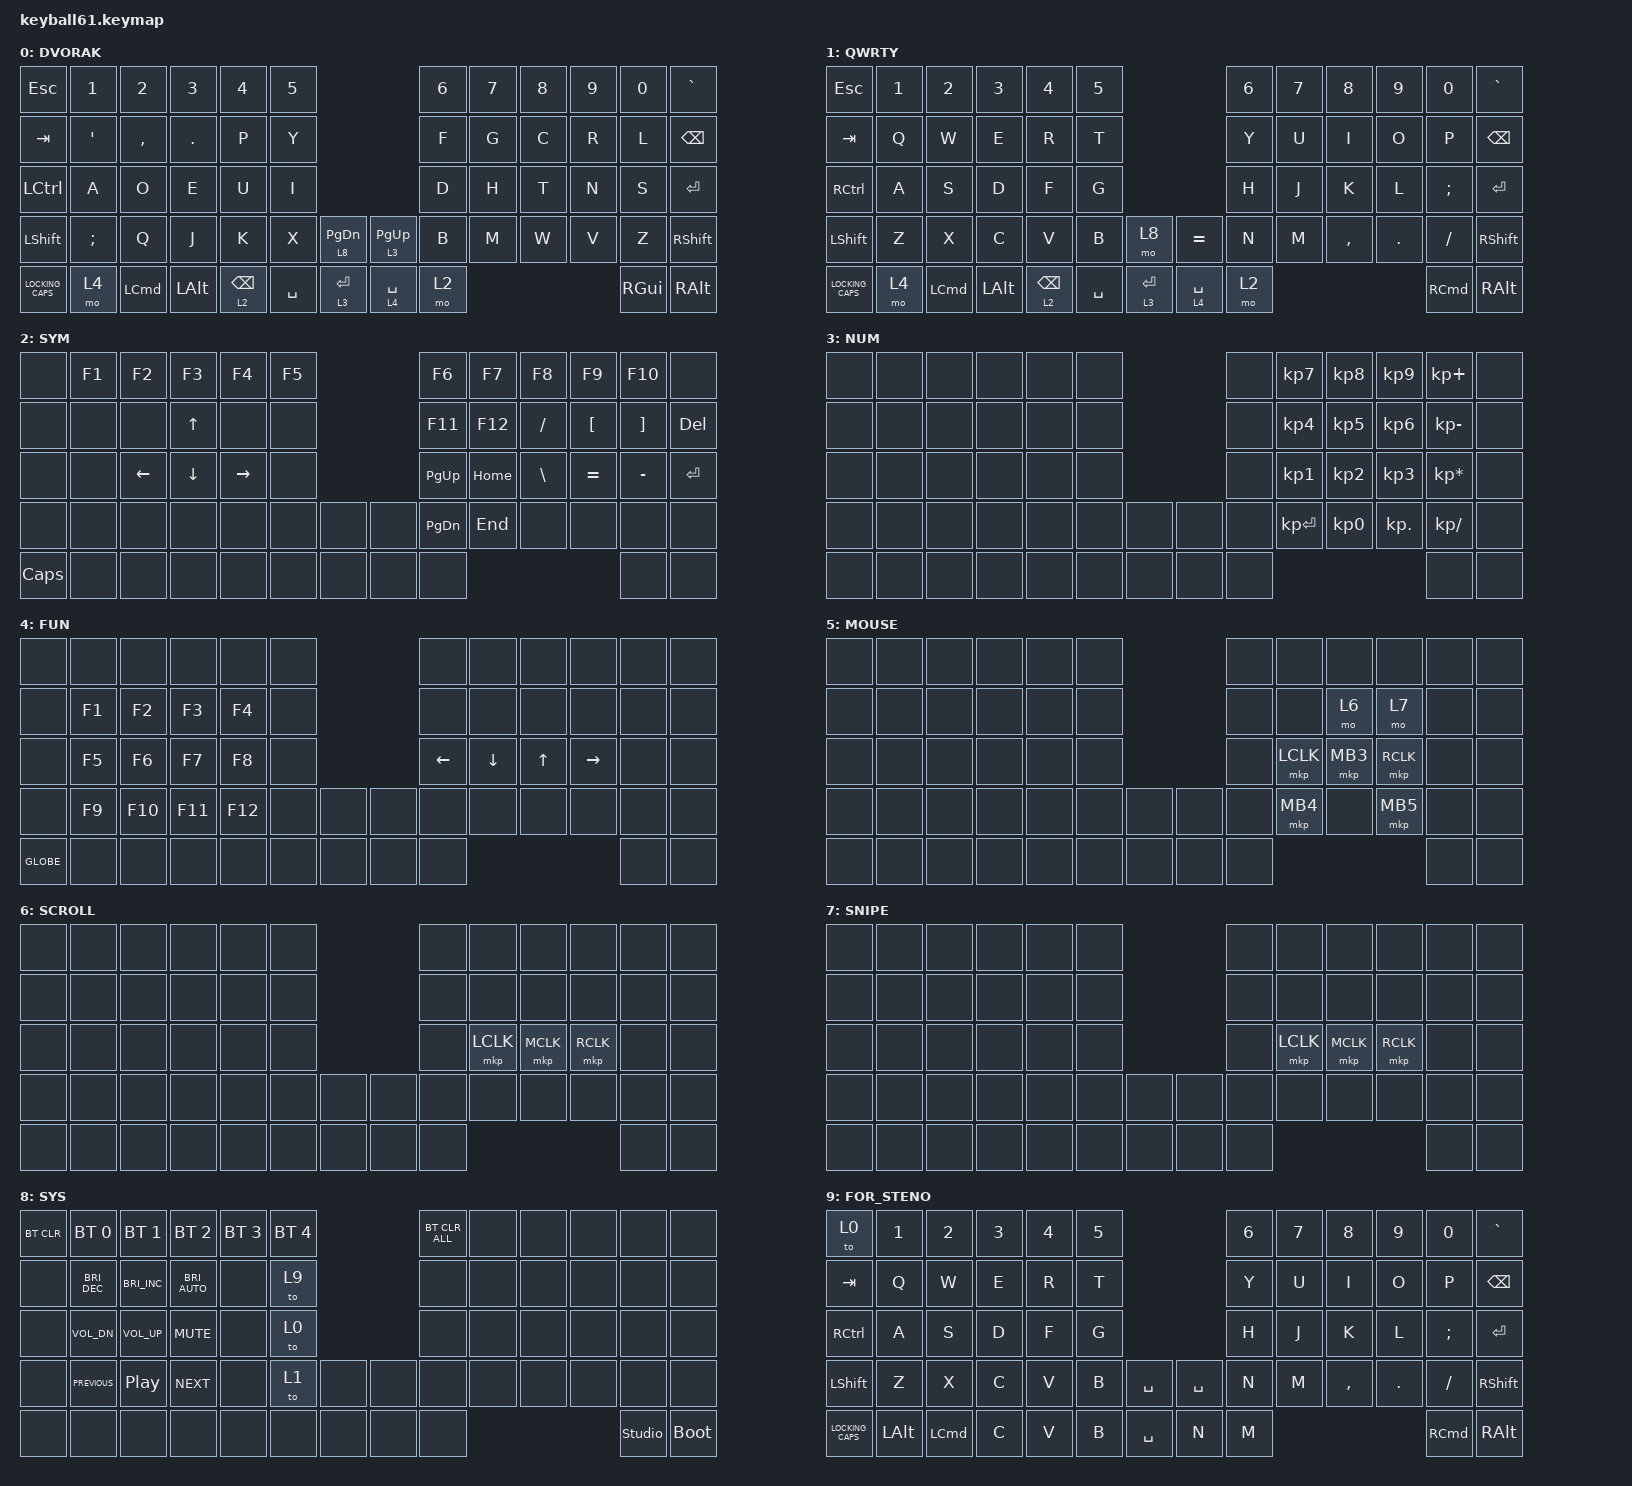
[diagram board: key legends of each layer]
#define DEFAULT 0
#define SYM     1
#define FUN     2
#define MOUSE   3
#define SCROLL  4
#define SNIPE   5

#include <behaviors/mouse_keys.dtsi>
#include <dt-bindings/zmk/mouse.h>
#include <behaviors.dtsi>
#include <dt-bindings/zmk/bt.h>
#include <dt-bindings/zmk/keys.h>
#include <dt-bindings/zmk/pointing.h>

&lt {
    tapping-term-ms = <240>;
    flavor = "hold-preferred";
    quick-tap-ms = <100>;
};

&mt {
    tapping-term-ms = <200>;
    flavor = "tap-preferred";
    quick-tap-ms = <150>;
};

/ {
    combos {
        compatible = "zmk,combos";

        combo_minus {
            bindings = <&kp MINUS>;
            key-positions = <58 34>;
            layers = <0>;
        };

        combo_left_bracket {
            bindings = <&kp LEFT_BRACKET>;
            key-positions = <58 21>;
            layers = <0>;
        };

        combo_right_bracket {
            bindings = <&kp RIGHT_BRACKET>;
            key-positions = <58 21>;
            layers = <0>;
        };

        combo_equal {
            bindings = <&kp EQUAL>;
            key-positions = <58 33>;
            layers = <0>;
        };

        combo_slash {
            bindings = <&kp SLASH>;
            key-positions = <58 20>;
            layers = <0>;
        };

        combo_backslash {
            bindings = <&kp BACKSLASH>;
            key-positions = <58 32>;
            layers = <0>;
        };

        combo_F1 {
            bindings = <&kp F1>;
            key-positions = <56 13>;
            layers = <0>;
        };

        combo_F2 {
            bindings = <&kp F2>;
            key-positions = <56 14>;
            layers = <0>;
        };

        combo_F3 {
            bindings = <&kp F3>;
            key-positions = <56 15>;
            layers = <0>;
        };

        combo_F4 {
            bindings = <&kp F4>;
            key-positions = <56 16>;
            layers = <0>;
        };

        combo_F5 {
            bindings = <&kp F5>;
            key-positions = <56 25>;
            layers = <0>;
        };

        combo_F6 {
            bindings = <&kp F6>;
            key-positions = <56 26>;
            layers = <0>;
        };

        combo_F7 {
            bindings = <&kp F7>;
            key-positions = <56 27>;
            layers = <0>;
        };

        combo_F8 {
            bindings = <&kp F8>;
            key-positions = <56 28>;
            layers = <0>;
        };

        combo_F9 {
            bindings = <&kp F9>;
            key-positions = <56 37>;
            layers = <0>;
        };

        combo_F10 {
            bindings = <&kp F10>;
            key-positions = <56 38>;
            layers = <0>;
        };

        combo_F11 {
            bindings = <&kp F11>;
            key-positions = <56 39>;
            layers = <0>;
        };

        combo_F12 {
            bindings = <&kp F12>;
            key-positions = <56 40>;
            layers = <0>;
        };
    };

    keymap {
        compatible = "zmk,keymap";

        default_layer {
            label = "DVORAK";
            bindings = <
&kp ESC           &kp N1    &kp N2            &kp N3        &kp N4           &kp N5                                     &kp N6  &kp N7  &kp N8  &kp N9  &kp N0         &kp GRAVE
&kp TAB           &kp SQT   &kp COMMA         &kp DOT       &kp P            &kp Y                                      &kp F   &kp G   &kp C   &kp R   &kp L          &kp BSPC
&kp LCTRL         &kp A     &kp O             &kp E         &kp U            &kp I                                      &kp D   &kp H   &kp T   &kp N   &kp S          &kp RET
&kp LSHFT         &kp SEMI  &kp Q             &kp J         &kp K            &kp X      &lt 8 PAGE_DOWN  &lt 3 PAGE_UP  &kp B   &kp M   &kp W   &kp V   &kp Z          &kp RSHFT
&kp LOCKING_CAPS  &mo 4     &kp LEFT_COMMAND  &kp LEFT_ALT  &lt 2 BACKSPACE  &kp SPACE  &lt 3 ENTER      &lt 4 SPACE    &mo 2                           &kp RIGHT_GUI  &kp RIGHT_ALT
            >;
        };

        QWERTY {
            label = "QWRTY";
            bindings = <
&kp ESC           &kp N1  &kp N2            &kp N3        &kp N4           &kp N5                               &kp N6  &kp N7  &kp N8     &kp N9   &kp N0             &kp GRAVE
&kp TAB           &kp Q   &kp W             &kp E         &kp R            &kp T                                &kp Y   &kp U   &kp I      &kp O    &kp P              &kp BACKSPACE
&kp RCTRL         &kp A   &kp S             &kp D         &kp F            &kp G                                &kp H   &kp J   &kp K      &kp L    &kp SEMI           &kp ENTER
&kp LEFT_SHIFT    &kp Z   &kp X             &kp C         &kp V            &kp B      &mo 8        &kp EQUAL    &kp N   &kp M   &kp COMMA  &kp DOT  &kp FSLH           &kp RIGHT_SHIFT
&kp LOCKING_CAPS  &mo 4   &kp LEFT_COMMAND  &kp LEFT_ALT  &lt 2 BACKSPACE  &kp SPACE  &lt 3 ENTER  &lt 4 SPACE  &mo 2                               &kp RIGHT_COMMAND  &kp RIGHT_ALT
            >;
        };

        symbol_layer {
            bindings = <
&none         &kp F1  &kp F2    &kp F3    &kp F4     &kp F5                &kp F6     &kp F7    &kp F8    &kp F9     &kp F10    &none
&none         &none   &none     &kp UP    &none      &none                 &kp F11    &kp F12   &kp FSLH  &kp LBKT   &kp RBKT   &kp DELETE
&none         &none   &kp LEFT  &kp DOWN  &kp RIGHT  &none                 &kp PG_UP  &kp HOME  &kp BSLH  &kp EQUAL  &kp MINUS  &kp RET
&none         &none   &none     &none     &none      &none   &none  &none  &kp PG_DN  &kp END   &none     &none      &none      &none
&kp CAPSLOCK  &none   &none     &none     &none      &none   &none  &none  &none                                     &none      &none
            >;

            label = "SYM";
        };

        number_layer {
            label = "NUM";
            bindings = <
&none  &none  &none  &none  &none  &none                &none  &kp KP_NUMBER_7  &kp KP_NUMBER_8  &kp KP_NUMBER_9  &kp KP_PLUS      &none
&none  &none  &none  &none  &none  &none                &none  &kp KP_NUMBER_4  &kp KP_NUMBER_5  &kp KP_NUMBER_6  &kp KP_MINUS     &none
&none  &none  &none  &none  &none  &none                &none  &kp KP_NUMBER_1  &kp KP_NUMBER_2  &kp KP_NUMBER_3  &kp KP_MULTIPLY  &none
&none  &none  &none  &none  &none  &none  &none  &none  &none  &kp KP_ENTER     &kp KP_NUMBER_0  &kp KP_DOT       &kp KP_DIVIDE    &none
&none  &none  &none  &none  &none  &none  &none  &none  &none                                                     &none            &none
            >;
        };

        function_layer {
            label = "FUN";
            bindings = <
&none      &none   &none    &none    &none    &none                &none     &none     &none   &none      &none  &none
&none      &kp F1  &kp F2   &kp F3   &kp F4   &none                &none     &none     &none   &none      &none  &none
&none      &kp F5  &kp F6   &kp F7   &kp F8   &none                &kp LEFT  &kp DOWN  &kp UP  &kp RIGHT  &none  &none
&none      &kp F9  &kp F10  &kp F11  &kp F12  &none  &none  &none  &none     &none     &none   &none      &none  &none
&kp GLOBE  &none   &none    &none    &none    &none  &none  &none  &none                                  &none  &none
            >;
        };

        mouse_layer {
            label = "MOUSE";
            bindings = <
&none  &none  &none  &none  &none  &none                &none  &none      &none     &none      &none  &none
&none  &none  &none  &none  &none  &none                &none  &none      &mo 6     &mo 7      &none  &none
&none  &none  &none  &none  &none  &none                &none  &mkp LCLK  &mkp MB3  &mkp RCLK  &none  &none
&none  &none  &none  &none  &none  &none  &none  &none  &none  &mkp MB4   &none     &mkp MB5   &none  &none
&none  &none  &none  &none  &none  &none  &none  &none  &none                                  &none  &none
            >;
        };

        scroll_layer {
            label = "SCROLL";
            bindings = <
&none  &none  &none  &none  &none  &none                &none  &none      &none      &none      &none  &none
&none  &none  &none  &none  &none  &none                &none  &none      &none      &none      &none  &none
&none  &none  &none  &none  &none  &none                &none  &mkp LCLK  &mkp MCLK  &mkp RCLK  &none  &none
&none  &none  &none  &none  &none  &none  &none  &none  &none  &none      &none      &none      &none  &none
&none  &none  &none  &none  &none  &none  &none  &none  &none                                   &none  &none
            >;
        };

        snipe_layer {
            label = "SNIPE";
            bindings = <
&none  &none  &none  &none  &none  &none                &none  &none      &none      &none      &none  &none
&none  &none  &none  &none  &none  &none                &none  &none      &none      &none      &none  &none
&none  &none  &none  &none  &none  &none                &none  &mkp LCLK  &mkp MCLK  &mkp RCLK  &none  &none
&none  &none  &none  &none  &none  &none  &none  &none  &none  &none      &none      &none      &none  &none
&none  &none  &none  &none  &none  &none  &none  &none  &none                                   &none  &none
            >;
        };

        system_layer {
            bindings = <
&bt BT_CLR  &bt BT_SEL 0          &bt BT_SEL 1          &bt BT_SEL 2           &bt BT_SEL 3  &bt BT_SEL 4                &bt BT_CLR_ALL  &none  &none  &none  &none           &none
&none       &kp C_BRIGHTNESS_DEC  &kp C_BRIGHTNESS_INC  &kp C_BRIGHTNESS_AUTO  &none         &to 9                       &none           &none  &none  &none  &none           &none
&none       &kp C_VOL_DN          &kp C_VOLUME_UP       &kp K_MUTE             &none         &to 0                       &none           &none  &none  &none  &none           &none
&none       &kp C_PREVIOUS        &kp C_PLAY_PAUSE      &kp C_NEXT             &none         &to 1         &none  &none  &none           &none  &none  &none  &none           &none
&none       &none                 &none                 &none                  &none         &none         &none  &none  &none                                &studio_unlock  &bootloader
            >;

            label = "SYS";
        };

        FOR_STENO {
            label = "FOR_STENO";
            bindings = <
&to 0             &kp N1        &kp N2            &kp N3  &kp N4  &kp N5                        &kp N6  &kp N7  &kp N8     &kp N9   &kp N0             &kp GRAVE
&kp TAB           &kp Q         &kp W             &kp E   &kp R   &kp T                         &kp Y   &kp U   &kp I      &kp O    &kp P              &kp BACKSPACE
&kp RCTRL         &kp A         &kp S             &kp D   &kp F   &kp G                         &kp H   &kp J   &kp K      &kp L    &kp SEMI           &kp ENTER
&kp LEFT_SHIFT    &kp Z         &kp X             &kp C   &kp V   &kp B   &kp SPACE  &kp SPACE  &kp N   &kp M   &kp COMMA  &kp DOT  &kp FSLH           &kp RIGHT_SHIFT
&kp LOCKING_CAPS  &kp LEFT_ALT  &kp LEFT_COMMAND  &kp C   &kp V   &kp B   &kp SPACE  &kp N      &kp M                               &kp RIGHT_COMMAND  &kp RIGHT_ALT
            >;
        };
    };
};
